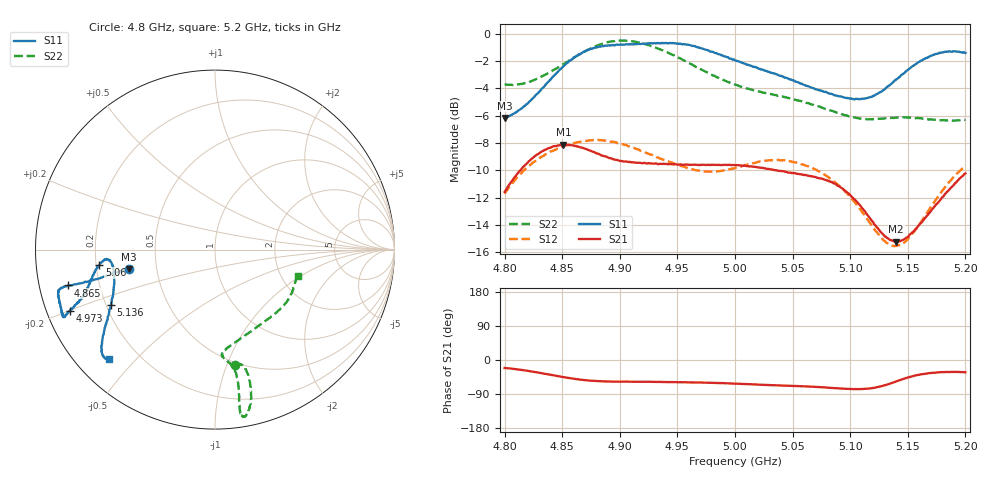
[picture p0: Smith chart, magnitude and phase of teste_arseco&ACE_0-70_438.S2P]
! Network Analyzer HP8722D
! Hewlett-Packard
! Data name: Linha & Wilkinson
! Saver's name: Rodrigo Anjos
! Comments: Teste da utilização de aquisição
! continua pelo VNA HP8722D
! Time and date: 8/5/2025 16:24
!  Frequency  S11  S21  S12  S22
# HZ  S  MA R 50
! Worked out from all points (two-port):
!   401 points, 4.8 GHz to 5.2 GHz, reference 50 ohm
!   highest |S21| = -8.11 dB at 4.851 GHz (marker M1); lowest = -15.2 dB at 5.14 GHz (marker M2)
!   |S21| within 3 dB of the highest: 4.803 GHz to 5.089 GHz (285.4 MHz wide, 5.77 % of centre); 5.189418 GHz to end of sweep
!   lowest |S11| = -6.2 dB at 4.8 GHz (marker M3), VSWR 2.94, Z = 17.2 - j4.92 ohm
!   |S11| at or under -10 dB: nowhere
!   |S22| runs from -6.4 to -0.5 dB; largest |S21 - S12| = 0.62
!   S11 on the Smith chart (normalised r, x): 4.8 GHz: 0.34, -0.10; 4.865 GHz: 0.09, -0.12; 4.973 GHz: 0.07, -0.20; 5.06 GHz: 0.21, -0.06; 5.136 GHz: 0.22, -0.24; 5.2 GHz: 0.10, -0.42
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4.8e9  0.492 -167.3  0.2638 -21.1  0.2597 -142.1  0.653 -80.2
4.826e9  0.5889 -166.7  0.3556 -31.7  0.3408 -146.4  0.6788 -75.9
4.851e9  0.7603 -165.9  0.3931 -45.1  0.3868 -150.8  0.774 -75.3
4.865e9  0.8428 -166.3  0.3846 -51.6  0.4016 -153.0  0.84 -76.1
4.867e9  0.8499 -166.1  0.383 -52.2  0.4037 -153.3  0.8506 -76.3
4.898e9  0.9118 -163.3  0.3448 -57.0  0.3974 -157.2  0.943 -79.7
4.934e9  0.9235 -156.9  0.3337 -58.0  0.3513 -156.0  0.8792 -81.1
4.951e9  0.9177 -155.9  0.3319 -58.6  0.3302 -153.0  0.8169 -80.6
4.973e9  0.8791 -157.2  0.3315 -60.0  0.3136 -146.3  0.7313 -80.2
5e9  0.8008 -159.5  0.3302 -62.5  0.3229 -137.9  0.6513 -81.9
5.036e9  0.7112 -166.5  0.3164 -66.8  0.3445 -135.4  0.5959 -86.1
5.06e9  0.65 -172.5  0.3041 -69.5  0.331 -137.3  0.5617 -84.4
5.067e9  0.634 -173.7  0.301 -70.3  0.3228 -138.0  0.5501 -82.7
5.082e9  0.6039 -174.9  0.2888 -73.3  0.2965 -139.5  0.5252 -76.8
5.101e9  0.5799 -171.4  0.2545 -76.7  0.2501 -139.5  0.4966 -65.7
5.115e9  0.5824 -164.6  0.217 -75.6  0.2088 -135.6  0.4863 -55.6
5.134e9  0.6469 -153.0  0.1767 -63.0  0.1694 -118.4  0.4915 -42.9
5.136e9  0.6573 -152.0  0.1754 -60.9  0.1678 -115.9  0.492 -41.6
5.14e9  0.6802 -150.0  0.1733 -56.6  0.1673 -110.5  0.4928 -39.5
5.152e9  0.7475 -144.9  0.1846 -44.6  0.1804 -95.8  0.4929 -33.1
5.173e9  0.8384 -138.9  0.2327 -33.4  0.2421 -80.9  0.4846 -24.2
5.2e9  0.8501 -134.0  0.3082 -32.3  0.3275 -77.8  0.4835 -17.8
